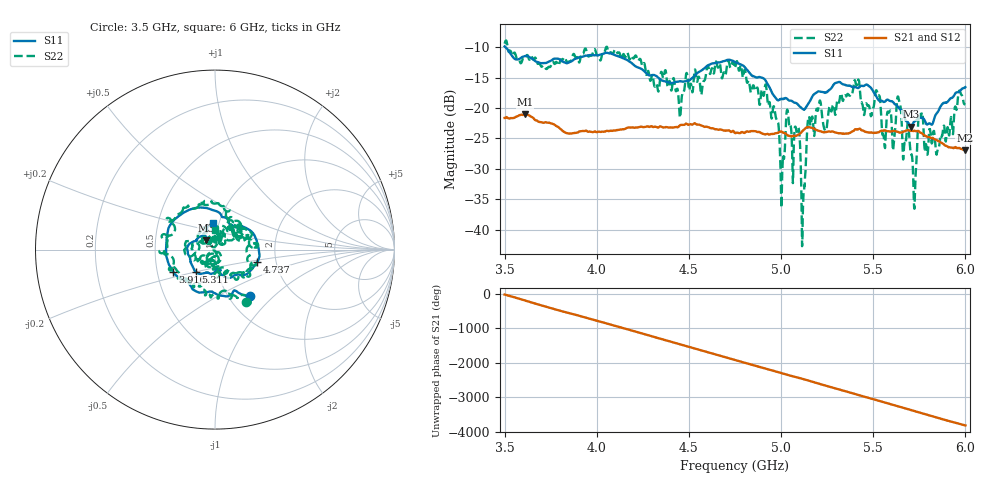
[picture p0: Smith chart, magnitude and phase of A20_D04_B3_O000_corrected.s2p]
! Created with skrf 1.9.0 (http://scikit-rf.org).
# Hz S RI R 50.0
!freq ReS11 ImS11 ReS21 ImS21 ReS12 ImS12 ReS22 ImS22
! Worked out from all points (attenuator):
!   1601 points, 3.5 GHz to 6 GHz, reference 50 ohm
!   highest |S21| = -21.04 dB at 3.611 GHz (marker M1); lowest = -26.9 dB at 5.997 GHz (marker M2)
!   lowest |S11| = -23.1 dB at 5.703 GHz (marker M3), VSWR 1.15, Z = 45.1 + j4.6 ohm
!   |S11| at or under -10 dB: 3.507 GHz to end of sweep
!   |S22| runs from -42.7 to -8.9 dB; largest |S21 - S12| = 0.0011
!   S11 on the Smith chart (normalised r, x): 3.5 GHz: 1.25, -0.72; 3.916 GHz: 0.61, -0.16; 4.737 GHz: 1.60, -0.23; 5.311 GHz: 0.79, -0.20; 6 GHz: 0.94, +0.28
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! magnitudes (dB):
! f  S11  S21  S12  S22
! 3.5 GHz  -9.8  -21.6  -21.6  -9.4
! 3.611 GHz  -11.4  -21.0  -21.0  -11.8
! 3.916 GHz  -11.6  -23.8  -23.8  -11.3
! 3.917 GHz  -11.6  -23.8  -23.8  -11.1
! 4.334 GHz  -15.0  -23.2  -23.1  -17.3
! 4.737 GHz  -12.2  -23.8  -23.8  -12.3
! 4.75 GHz  -12.4  -24.1  -24.0  -13.4
! 4.923 GHz  -15.9  -24.3  -24.3  -17.7
! 5.006 GHz  -18.5  -23.9  -23.9  -30.6
! 5.036 GHz  -18.6  -24.5  -24.4  -20.4
! 5.088 GHz  -19.3  -24.5  -24.5  -23.7
! 5.12 GHz  -20.2  -23.7  -23.6  -35.1
! 5.167 GHz  -18.2  -23.3  -23.2  -21.5
! 5.311 GHz  -15.7  -24.1  -24.1  -19.0
! 5.584 GHz  -18.7  -23.8  -23.8  -20.7
! 5.639 GHz  -20.0  -24.0  -23.9  -18.6
! 5.703 GHz  -23.1  -23.7  -23.7  -27.3
! 5.723 GHz  -22.2  -23.7  -23.7  -36.6
! 5.756 GHz  -21.6  -24.0  -23.9  -21.5
! 5.848 GHz  -20.7  -25.4  -25.3  -27.0
! 5.997 GHz  -16.6  -26.9  -26.8  -19.4
! 6 GHz  -16.6  -26.9  -26.8  -19.4
